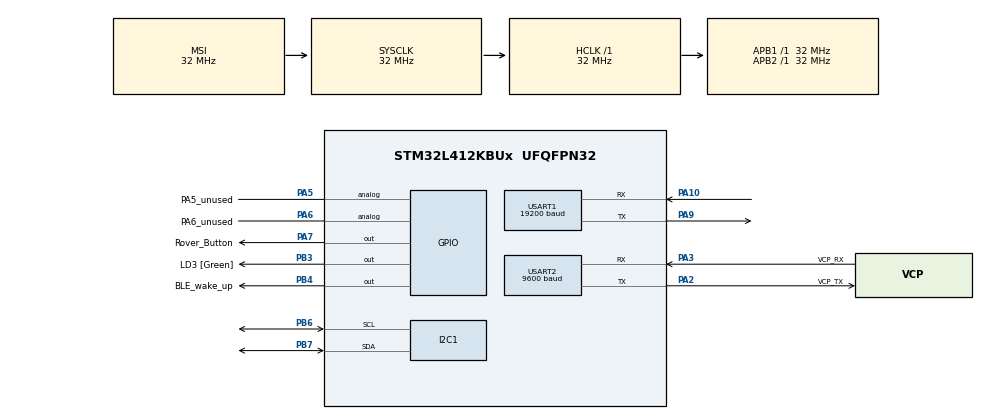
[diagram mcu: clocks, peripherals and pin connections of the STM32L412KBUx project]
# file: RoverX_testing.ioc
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I2C1.Timing=0x00707CBB
Mcu.Family=STM32L4
Mcu.Name=STM32L412KBUx
Mcu.Package=UFQFPN32
NVIC.PriorityGroup=NVIC_PRIORITYGROUP_4
PA0-CK_IN.Mode=HSE-External-Clock-Source-for-LittleOrca
PA0-CK_IN.Signal=RCC_CK_IN
PA10.Mode=Asynchronous
PA10.Signal=USART1_RX
PA13\ (JTMS/SWDIO).GPIO_Label=SWDIO
PA13\ (JTMS/SWDIO).Mode=Serial_Wire
PA13\ (JTMS/SWDIO).Signal=SYS_JTMS-SWDIO
PA14\ (JTCK/SWCLK).GPIO_Label=SWCLK
PA14\ (JTCK/SWCLK).Mode=Serial_Wire
PA14\ (JTCK/SWCLK).Signal=SYS_JTCK-SWCLK
PA2.GPIO_Label=VCP_TX
PA2.Mode=Asynchronous
PA2.Signal=USART2_TX
PA3.GPIO_Label=VCP_RX
PA3.Mode=Asynchronous
PA3.Signal=USART2_RX
PA5.GPIO_Label=PA5_unused
PA5.Signal=GPIO_Analog
PA6.GPIO_Label=PA6_unused
PA6.Signal=GPIO_Analog
PA7.GPIO_Label=Rover_Button
PA7.Signal=GPIO_Output
PA9.Mode=Asynchronous
PA9.Signal=USART1_TX
PB3\ (JTDO/TRACESWO).GPIO_Label=LD3 [Green]
PB3\ (JTDO/TRACESWO).Signal=GPIO_Output
PB4\ (NJTRST).GPIO_Label=BLE_wake_up
PB4\ (NJTRST).GPIO_Speed=GPIO_SPEED_FREQ_MEDIUM
PB4\ (NJTRST).Signal=GPIO_Output
PB6.GPIO_Pu=GPIO_PULLUP
PB6.Mode=I2C
PB6.Signal=I2C1_SCL
PB7.Mode=I2C
PB7.Signal=I2C1_SDA
PC14-OSC32_IN\ (PC14).Mode=LSE-External-Oscillator
PC14-OSC32_IN\ (PC14).Signal=RCC_OSC32_IN
PC15-OSC32_OUT\ (PC15).Mode=LSE-External-Oscillator
PC15-OSC32_OUT\ (PC15).Signal=RCC_OSC32_OUT
ProjectManager.HeapSize=0x200
ProjectManager.StackSize=0x400
ProjectManager.TargetToolchain=STM32CubeIDE
RCC.ADCFreq_Value=32000000
RCC.AHBFreq_Value=32000000
RCC.APB1Freq_Value=32000000
RCC.APB1TimFreq_Value=32000000
RCC.APB2Freq_Value=32000000
RCC.APB2TimFreq_Value=32000000
RCC.CortexFreq_Value=32000000
RCC.FLatency=FLASH_LATENCY_1
RCC.HCLKFreq_Value=32000000
RCC.HSE_VALUE=8000000
RCC.HSI48_VALUE=48000000
RCC.HSICalibrationValue=64
RCC.HSI_VALUE=16000000
RCC.LSE_Drive_Capability=RCC_LSEDRIVE_LOW
RCC.MSIClockRange=RCC_MSIRANGE_10
RCC.MSI_VALUE=32000000
RCC.RTCClockSelection=RCC_RTCCLKSOURCE_LSE
RCC.SYSCLKFreq_VALUE=32000000
RCC.USBFreq_Value=32000000
RCC.VCOOutputFreq_Value=256000000
RTC.WakeUpCounter=61440
TIM1.Prescaler=15624
USART1.BaudRate=19200
USART1.VirtualMode-Asynchronous=VM_ASYNC
USART2.BaudRate=9600
USART2.VirtualMode-Asynchronous=VM_ASYNC
VP_RTC_VS_RTC_Activate.Mode=RTC_Enabled
VP_RTC_VS_RTC_WakeUp_intern.Mode=WakeUp
VP_TIM1_VS_ClockSourceINT.Mode=Internal
board=NUCLEO-L412KB

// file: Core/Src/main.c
/* USER CODE BEGIN Header */
/**
  ******************************************************************************
  * @file           : main.c
  * @brief          : Main program body
  ******************************************************************************
  * @attention
  *
  * Copyright (c) 2024 STMicroelectronics.
  * All rights reserved.
  *
  * This software is licensed under terms that can be found in the LICENSE file
  * in the root directory of this software component.
  * If no LICENSE file comes with this software, it is provided AS-IS.
  *
  ******************************************************************************
  */
/* USER CODE END Header */
#include "main.h"

/* USER CODE BEGIN Includes */
#include "LTR_329.h"
#include "BLE.h"
#include "stm_power.h"
#include "ADXL345.h"
#include "LoRaWAN.h"
#include "rover.h"
#include <string.h>
#include <stdio.h>
#include <stdbool.h>
#include <stdlib.h>
/* USER CODE END Includes */

/* USER CODE BEGIN PD */

#define SHT40_ADDRESS (0x44 << 1)

// Timer variables
uint32_t master_timer = 0;
uint32_t slave_timer = 0;
uint32_t wakeStartTime = 0;
uint32_t start_LoRa = 0;

// Data variables
float temp_degC;
float rh_pRH;
uint16_t ch0_both;
uint16_t ch1_IR;
float z_g;

// In main.h!!!
//#define format_data_length 23
char formatted_data[lora_data_length];
char received_data_BLE[lora_data_length];

/* USER CODE END PD */

I2C_HandleTypeDef hi2c1;

RTC_HandleTypeDef hrtc;

TIM_HandleTypeDef htim1;

UART_HandleTypeDef huart1;
UART_HandleTypeDef huart2;

void SystemClock_Config(void);
static void MX_GPIO_Init(void);
static void MX_USART2_UART_Init(void);
static void MX_I2C1_Init(void);
static void MX_USART1_UART_Init(void);
static void MX_TIM1_Init(void);
static void MX_RTC_Init(void);
/* USER CODE BEGIN PFP */
void global_init_Done(void);
void custom_init_Done(void);
void SHT40_measure(void);

void format_data(uint8_t power_percentage, uint8_t sleep_mode, uint8_t data_flags, uint8_t rover_moved);

void setup_driving_pins(void);

// THIS IS IN main.h!!!
//void reset_i2c(void);
/* USER CODE END PFP */

/* USER CODE BEGIN 0 */
int _write(int file, char *ptr, int len) {
  HAL_UART_Transmit(&huart2, (uint8_t *)ptr, len, 2000);
  return len;
}
/* USER CODE END 0 */

int main(void)
{

  /* MCU Configuration--------------------------------------------------------*/

  /* Reset of all peripherals, Initializes the Flash interface and the Systick. */
  HAL_Init();

  /* Configure the system clock */
  SystemClock_Config();

  /* USER CODE BEGIN SysInit */

  /*
   *
   */

  /* USER CODE END SysInit */

  /* Initialize all configured peripherals */
  MX_GPIO_Init();
  MX_USART2_UART_Init();
  MX_I2C1_Init();
  MX_USART1_UART_Init();
  MX_TIM1_Init();
  MX_RTC_Init();
  /* USER CODE BEGIN 2 */
  global_init_Done();
  // Wake BLE by pulling PB4 low then high
  HAL_GPIO_WritePin(BLE_wake_up_GPIO_Port, BLE_wake_up_Pin, GPIO_PIN_SET);
  HAL_Delay(10);
  HAL_GPIO_WritePin(BLE_wake_up_GPIO_Port, BLE_wake_up_Pin, GPIO_PIN_RESET);
  HAL_Delay(10);
  HAL_GPIO_WritePin(BLE_wake_up_GPIO_Port, BLE_wake_up_Pin, GPIO_PIN_SET);
  HAL_Delay(10);
  reset_i2c();

  // Check if we woke up from Standby
  if (__HAL_PWR_GET_FLAG(PWR_FLAG_SB) != RESET) {
      // Clear Standby and Wakeup Flags
      __HAL_PWR_CLEAR_FLAG(PWR_FLAG_SB);
      __HAL_PWR_CLEAR_FLAG(PWR_FLAG_WUF3);
      HAL_I2C_DeInit(&hi2c1);
      HAL_Delay(10);
      MX_I2C1_Init();
      #if UART_DEBUG
          printf("Woken up from Standby mode!\r\n");
      #endif
  } else {
      #if UART_DEBUG
        printf("Normal startup\r\n");
      #endif
  }

  custom_init_Done();

  HAL_TIM_Base_Start(&htim1);
  wakeStartTime = HAL_GetTick();

  #if SLAVE
	  // Timer is to measure time awake -> Debug
 	  #if UART_DEBUG
	  	  HAL_TIM_Base_Start(&htim1);
	  	  uint32_t wakeStartTime = HAL_GetTick();
  	  #endif
  	  LTR_329_setup();
  	  ADXL345_WakeUp();
  	  ADXL345_Init();

  	  drive_rover();

      // Send data to BLE
      SHT40_measure();
      LTR_329_measure();
      ADXL345_Measure();

  	  // 3 bits bat % - 1 bit to sleep - 3 bits select data - 1 bit moved
  	  // Select data: 1 bit temp&humidity - 1 bit light - 1 bit vibrations
  	  format_data(0x0, 0x1, 0b111, 0x0);
  	  while(!slave_send_data_to_BLE(formatted_data)) {
  		  HAL_Delay(5); // Set to 5 instead of 10
  	  }

  	  HAL_Delay(10);
  	  enterStandbyMode();

//      // Wait for ACK with timeout
//      while((HAL_GetTick() - startTime) < 10000) { // 10000ms = 10s
//          if(slave_receive_data_from_BLE()) {
//              gotACK = true;
//              uint32_t i2cDuration = i2cEndTime - i2cStartTime;
//			  #if UART_DEBUG
//              	  printf("Tussentijd (I2C transmit): %lu ms\r\n", i2cDuration);
//			  #endif
//              // Go to standby a little lower in the code
//          }
//          HAL_Delay(10);  // Small delay to prevent tight polling
//      }
//
//      // If no ACK received within 10s
//      if(!gotACK) {
//          enterStandbyMode10s();  // Enter 10s standby and signal BLE
//      }
//      else {
//    	  enterStandbyMode();  // Normal standby with calculated delay
//      }
	#else // master
  	  setup_driving_pins();
  	  //reset_i2c();

	  while(!master_receive_data_from_BLE()) {
		  uint32_t currentTime = HAL_GetTick();
		  if(currentTime < 10000) {
			  HAL_Delay(5);
		  }
		  else {
		  reset_i2c();
	      enterStandbyModeShort();
		  }
	  }
	  start_LoRa = HAL_GetTick();
	  #if UART_DEBUG
  	  	  printf("test\r\n");
	  #endif
  	  //snprintf(received_data_BLE, lora_data_length, "8E07D003E8012C00FA00C8");
	  // Data received -> send to LoRa
  	  LoRaWAN_WakeUp();
  	  HAL_Delay(10);
	  LoRaWAN_Startup(1); // 1 or 0 to enable or disable sending EUI's etc
	  HAL_Delay(100);
	  LoRaWAN_Send_msg(received_data_BLE, 1);
	  HAL_Delay(10);
	  LoRaWAN_Sleep();
	  HAL_Delay(10);

	  drive_sequence_master();
	  setup_driving_pins();

	  enterStandbyModeMaster();
	#endif

  /* USER CODE END 2 */

  /* Infinite loop */
  while (1)
  {

  }
}

void SystemClock_Config(void)
{
  RCC_OscInitTypeDef RCC_OscInitStruct = {0};
  RCC_ClkInitTypeDef RCC_ClkInitStruct = {0};

  /** Configure the main internal regulator output voltage
  */
  if (HAL_PWREx_ControlVoltageScaling(PWR_REGULATOR_VOLTAGE_SCALE1) != HAL_OK)
  {
    Error_Handler();
  }

  /** Configure LSE Drive Capability
  */
  HAL_PWR_EnableBkUpAccess();
  __HAL_RCC_LSEDRIVE_CONFIG(RCC_LSEDRIVE_LOW);

  /** Initializes the RCC Oscillators according to the specified parameters
  * in the RCC_OscInitTypeDef structure.
  */
  RCC_OscInitStruct.OscillatorType = RCC_OSCILLATORTYPE_LSE|RCC_OSCILLATORTYPE_MSI;
  RCC_OscInitStruct.LSEState = RCC_LSE_ON;
  RCC_OscInitStruct.MSIState = RCC_MSI_ON;
  RCC_OscInitStruct.MSICalibrationValue = 0;
  RCC_OscInitStruct.MSIClockRange = RCC_MSIRANGE_10;
  RCC_OscInitStruct.PLL.PLLState = RCC_PLL_NONE;
  if (HAL_RCC_OscConfig(&RCC_OscInitStruct) != HAL_OK)
  {
    Error_Handler();
  }

  /** Initializes the CPU, AHB and APB buses clocks
  */
  RCC_ClkInitStruct.ClockType = RCC_CLOCKTYPE_HCLK|RCC_CLOCKTYPE_SYSCLK
                              |RCC_CLOCKTYPE_PCLK1|RCC_CLOCKTYPE_PCLK2;
  RCC_ClkInitStruct.SYSCLKSource = RCC_SYSCLKSOURCE_MSI;
  RCC_ClkInitStruct.AHBCLKDivider = RCC_SYSCLK_DIV1;
  RCC_ClkInitStruct.APB1CLKDivider = RCC_HCLK_DIV1;
  RCC_ClkInitStruct.APB2CLKDivider = RCC_HCLK_DIV1;

  if (HAL_RCC_ClockConfig(&RCC_ClkInitStruct, FLASH_LATENCY_1) != HAL_OK)
  {
    Error_Handler();
  }

  /** Enable MSI Auto calibration
  */
  HAL_RCCEx_EnableMSIPLLMode();
}

static void MX_I2C1_Init(void)
{

  hi2c1.Instance = I2C1;
  hi2c1.Init.Timing = 0x00707CBB;
  hi2c1.Init.OwnAddress1 = 0;
  hi2c1.Init.AddressingMode = I2C_ADDRESSINGMODE_7BIT;
  hi2c1.Init.DualAddressMode = I2C_DUALADDRESS_DISABLE;
  hi2c1.Init.OwnAddress2 = 0;
  hi2c1.Init.OwnAddress2Masks = I2C_OA2_NOMASK;
  hi2c1.Init.GeneralCallMode = I2C_GENERALCALL_DISABLE;
  hi2c1.Init.NoStretchMode = I2C_NOSTRETCH_DISABLE;
  if (HAL_I2C_Init(&hi2c1) != HAL_OK)
  {
    Error_Handler();
  }

  /** Configure Analogue filter
  */
  if (HAL_I2CEx_ConfigAnalogFilter(&hi2c1, I2C_ANALOGFILTER_ENABLE) != HAL_OK)
  {
    Error_Handler();
  }

  /** Configure Digital filter
  */
  if (HAL_I2CEx_ConfigDigitalFilter(&hi2c1, 0) != HAL_OK)
  {
    Error_Handler();
  }

}

static void MX_RTC_Init(void)
{

  /** Initialize RTC Only
  */
  hrtc.Instance = RTC;
  hrtc.Init.HourFormat = RTC_HOURFORMAT_24;
  hrtc.Init.AsynchPrediv = 127;
  hrtc.Init.SynchPrediv = 255;
  hrtc.Init.OutPut = RTC_OUTPUT_DISABLE;
  hrtc.Init.OutPutRemap = RTC_OUTPUT_REMAP_NONE;
  hrtc.Init.OutPutPolarity = RTC_OUTPUT_POLARITY_HIGH;
  hrtc.Init.OutPutType = RTC_OUTPUT_TYPE_OPENDRAIN;
  hrtc.Init.OutPutPullUp = RTC_OUTPUT_PULLUP_NONE;
  if (HAL_RTC_Init(&hrtc) != HAL_OK)
  {
    Error_Handler();
  }

  /** Enable the WakeUp
  */
  if (HAL_RTCEx_SetWakeUpTimer(&hrtc, 61440, RTC_WAKEUPCLOCK_RTCCLK_DIV16) != HAL_OK)
  {
    Error_Handler();
  }

}

static void MX_TIM1_Init(void)
{

  TIM_ClockConfigTypeDef sClockSourceConfig = {0};
  TIM_MasterConfigTypeDef sMasterConfig = {0};

  htim1.Instance = TIM1;
  htim1.Init.Prescaler = 15624;
  htim1.Init.CounterMode = TIM_COUNTERMODE_UP;
  htim1.Init.Period = 65535;
  htim1.Init.ClockDivision = TIM_CLOCKDIVISION_DIV1;
  htim1.Init.RepetitionCounter = 0;
  htim1.Init.AutoReloadPreload = TIM_AUTORELOAD_PRELOAD_DISABLE;
  if (HAL_TIM_Base_Init(&htim1) != HAL_OK)
  {
    Error_Handler();
  }
  sClockSourceConfig.ClockSource = TIM_CLOCKSOURCE_INTERNAL;
  if (HAL_TIM_ConfigClockSource(&htim1, &sClockSourceConfig) != HAL_OK)
  {
    Error_Handler();
  }
  sMasterConfig.MasterOutputTrigger = TIM_TRGO_RESET;
  sMasterConfig.MasterOutputTrigger2 = TIM_TRGO2_RESET;
  sMasterConfig.MasterSlaveMode = TIM_MASTERSLAVEMODE_DISABLE;
  if (HAL_TIMEx_MasterConfigSynchronization(&htim1, &sMasterConfig) != HAL_OK)
  {
    Error_Handler();
  }

}

static void MX_USART1_UART_Init(void)
{

  huart1.Instance = USART1;
  huart1.Init.BaudRate = 19200;
  huart1.Init.WordLength = UART_WORDLENGTH_8B;
  huart1.Init.StopBits = UART_STOPBITS_1;
  huart1.Init.Parity = UART_PARITY_NONE;
  huart1.Init.Mode = UART_MODE_TX_RX;
  huart1.Init.HwFlowCtl = UART_HWCONTROL_NONE;
  huart1.Init.OverSampling = UART_OVERSAMPLING_16;
  huart1.Init.OneBitSampling = UART_ONE_BIT_SAMPLE_DISABLE;
  huart1.AdvancedInit.AdvFeatureInit = UART_ADVFEATURE_NO_INIT;
  if (HAL_UART_Init(&huart1) != HAL_OK)
  {
    Error_Handler();
  }

}

static void MX_USART2_UART_Init(void)
{

  huart2.Instance = USART2;
  huart2.Init.BaudRate = 9600;
  huart2.Init.WordLength = UART_WORDLENGTH_8B;
  huart2.Init.StopBits = UART_STOPBITS_1;
  huart2.Init.Parity = UART_PARITY_NONE;
  huart2.Init.Mode = UART_MODE_TX_RX;
  huart2.Init.HwFlowCtl = UART_HWCONTROL_NONE;
  huart2.Init.OverSampling = UART_OVERSAMPLING_16;
  huart2.Init.OneBitSampling = UART_ONE_BIT_SAMPLE_DISABLE;
  huart2.AdvancedInit.AdvFeatureInit = UART_ADVFEATURE_NO_INIT;
  if (HAL_UART_Init(&huart2) != HAL_OK)
  {
    Error_Handler();
  }

}

static void MX_GPIO_Init(void)
{
  GPIO_InitTypeDef GPIO_InitStruct = {0};

  /* GPIO Ports Clock Enable */
  __HAL_RCC_GPIOC_CLK_ENABLE();
  __HAL_RCC_GPIOA_CLK_ENABLE();
  __HAL_RCC_GPIOB_CLK_ENABLE();

  /*Configure GPIO pin Output Level */
  HAL_GPIO_WritePin(Rover_Button_GPIO_Port, Rover_Button_Pin, GPIO_PIN_RESET);

  /*Configure GPIO pin Output Level */
  HAL_GPIO_WritePin(GPIOB, LD3_Pin|BLE_wake_up_Pin, GPIO_PIN_RESET);

  /*Configure GPIO pins : PA5_unused_Pin PA6_unused_Pin */
  GPIO_InitStruct.Pin = PA5_unused_Pin|PA6_unused_Pin;
  GPIO_InitStruct.Mode = GPIO_MODE_ANALOG;
  GPIO_InitStruct.Pull = GPIO_NOPULL;
  HAL_GPIO_Init(GPIOA, &GPIO_InitStruct);

  /*Configure GPIO pin : Rover_Button_Pin */
  GPIO_InitStruct.Pin = Rover_Button_Pin;
  GPIO_InitStruct.Mode = GPIO_MODE_OUTPUT_PP;
  GPIO_InitStruct.Pull = GPIO_NOPULL;
  GPIO_InitStruct.Speed = GPIO_SPEED_FREQ_LOW;
  HAL_GPIO_Init(Rover_Button_GPIO_Port, &GPIO_InitStruct);

  /*Configure GPIO pin : LD3_Pin */
  GPIO_InitStruct.Pin = LD3_Pin;
  GPIO_InitStruct.Mode = GPIO_MODE_OUTPUT_PP;
  GPIO_InitStruct.Pull = GPIO_NOPULL;
  GPIO_InitStruct.Speed = GPIO_SPEED_FREQ_LOW;
  HAL_GPIO_Init(LD3_GPIO_Port, &GPIO_InitStruct);

  /*Configure GPIO pin : BLE_wake_up_Pin */
  GPIO_InitStruct.Pin = BLE_wake_up_Pin;
  GPIO_InitStruct.Mode = GPIO_MODE_OUTPUT_PP;
  GPIO_InitStruct.Pull = GPIO_NOPULL;
  GPIO_InitStruct.Speed = GPIO_SPEED_FREQ_MEDIUM;
  HAL_GPIO_Init(BLE_wake_up_GPIO_Port, &GPIO_InitStruct);

}

/* USER CODE BEGIN 4 */

// Global init done
void global_init_Done(){
	#if UART_DEBUG
		const uint8_t length=24;
		uint8_t message[length];
		snprintf((char*) message, length, "Global init done!\r\n");
		HAL_UART_Transmit(&huart2, message, strlen((char*) message), 100);
	#endif
}

// Custom init done
void custom_init_Done(){
	#if UART_DEBUG
		const uint8_t length=24;
		uint8_t message[length];
		snprintf((char*) message, length, "Custom init done!\r\n");
		HAL_UART_Transmit(&huart2, message, strlen((char*) message), 100);
	#endif
}

// SHT40 is the themp and humidity sensor
void SHT40_measure(){
	HAL_StatusTypeDef ret;
	uint8_t data_tx[1] = {0xFD};
	uint8_t data_rx[6];
    #if UART_DEBUG
		int length = 32;
		uint8_t message[32]={'\0'};
    #endif

	ret = HAL_I2C_Master_Transmit(&hi2c1, SHT40_ADDRESS, data_tx, 1, 1000);
	HAL_Delay(10);
	if ( ret != HAL_OK ) {
		#if UART_DEBUG
			snprintf((char*) message, length, "Error Tx SHT40\r\n");
			HAL_UART_Transmit(&huart2, message, strlen((char*) message), 100);
	    #endif
	} else {
		//read bytes
		HAL_Delay(10);
		ret =  HAL_I2C_Master_Receive(&hi2c1, SHT40_ADDRESS, (uint8_t*)&data_rx, 6,1000);
		if ( ret != HAL_OK ) {
			#if UART_DEBUG
				snprintf((char*) message, length, "Error Rx SHT40\r\n");
				HAL_UART_Transmit(&huart2, message, strlen((char*) message), 100);
			#endif
		}
		else{
			float t_ticks = data_rx[0] * 256 + data_rx[1];
			float rh_ticks = data_rx[3] * 256 + data_rx[4];

			temp_degC = -45 + 175 * t_ticks/65535;
			//uint16_t temp_int = (uint16_t) (temp_degC*10);
			rh_pRH = -6 + 125 * rh_ticks/65535;
			//uint16_t rh_int = (uint16_t) (rh_pRH*10);

			#if UART_DEBUG
				for(int i = 0; i < 6 ; i++){
					snprintf((char*) message, length, "data_rx[%i] = %u \r\n",i,data_rx[i]);
					HAL_UART_Transmit(&huart2, message, strlen((char*) message), 100);
				}
				snprintf((char*) message, length, "t_degC = %.2f \r\n",temp_degC);
				HAL_UART_Transmit(&huart2, message, strlen((char*) message), 100);

				snprintf((char*) message, length, "rh_pRH = %.2f \r\n",rh_pRH);
				HAL_UART_Transmit(&huart2, message, strlen((char*) message), 100);
			#endif
		}
		#if UART_DEBUG
			snprintf((char*) message, length, "--------\r\n");
			HAL_UART_Transmit(&huart2, message, strlen((char*) message), 100);
		#endif
	}
}

void format_data(uint8_t power_percentage, uint8_t sleep_mode, uint8_t data_flags, uint8_t rover_moved){
    uint8_t input = ((power_percentage & 0x07) << 5) | // Mask to 3 bits (bits 7-5)
                    ((sleep_mode & 0x01) << 4) |      // Mask to 1 bit (bit 4)
                    ((data_flags & 0x07) << 1) |     // Mask to 3 bits (bits 3-1)
                    (rover_moved & 0x01);            // Mask to 1 bit (bit 0)
    uint8_t message[32];  // Buffer for binary output message
    int pos = 0;          // Position tracker for the message buffer

    // Append the input byte directly to the message
    message[pos++] = input;

    // Append selected data based on flags in binary format, scaled by 100
    if (data_flags & 0x04) {
        short int temperature = (short int)((temp_degC) * 100);  // Placeholder temperature scaled by 100
        short int humidity = (short int)(rh_pRH * 100); // Placeholder humidity scaled by 100

//        short int temperature = (short int)((23.46) * 100);  // Placeholder temperature scaled by 100
//        short int humidity = (short int)(45.12 * 100); // Placeholder humidity scaled by 100

        memcpy(&message[pos], &temperature, sizeof(temperature));
        pos += sizeof(temperature);
        memcpy(&message[pos], &humidity, sizeof(humidity));
        pos += sizeof(humidity);
    }

    if (data_flags & 0x02) {
        short int light_data = ch0_both;  // Placeholder light data
        short int IR_data = ch1_IR;

//        short int light_data = 315;  // Placeholder light data
//        short int IR_data = 101;

        memcpy(&message[pos], &light_data, sizeof(light_data));
        pos += sizeof(light_data);
        memcpy(&message[pos], &IR_data, sizeof(IR_data));
        pos += sizeof(IR_data);
    }

    if (data_flags & 0x01) {
        short int vibration = (short int)(abs(z_g * 100));  // Placeholder vibration data scaled by 100

//        short int vibration = (short int)(1.2 * 100);  // Placeholder vibration data scaled by 100

        memcpy(&message[pos], &vibration, sizeof(vibration));
        pos += sizeof(vibration);
    }

    snprintf(formatted_data, lora_data_length, "");
    //snprintf(formatted_data, lora_data_length, "8E07D003E8012C00FA00C8");

    const int temp_length=4;
    char temp[temp_length];
    for (short int i = 0; i < pos; i++) {
        snprintf(temp, temp_length, "%02X", message[i]);
        strcat(formatted_data, temp);
    }

    // Transmit the buffer
    #if UART_DEBUG
    	printf("FORMATTED Data:\r\n");
    	printf("%s \r\n", formatted_data);
        //HAL_UART_Transmit(&huart2, (uint8_t*) formatted_data, strlen(formatted_data), 100);
	#endif
}

void setup_driving_pins(void){
    HAL_GPIO_WritePin(Rover_Button_GPIO_Port, Rover_Button_Pin, GPIO_PIN_SET);
//    HAL_GPIO_WritePin(Rover_Forward_GPIO_Port, Rover_Forward_Pin, GPIO_PIN_SET);
//    HAL_GPIO_WritePin(Rover_Backward_GPIO_Port, Rover_Backward_Pin, GPIO_PIN_SET);
//    HAL_GPIO_WritePin(Rover_Left_GPIO_Port, Rover_Left_Pin, GPIO_PIN_SET);
//    HAL_GPIO_WritePin(Rover_Right_GPIO_Port, Rover_Right_Pin, GPIO_PIN_SET);
}

/* USER CODE END 4 */

void Error_Handler(void)
{
  __disable_irq();
  while (1)
  {
  }
}
